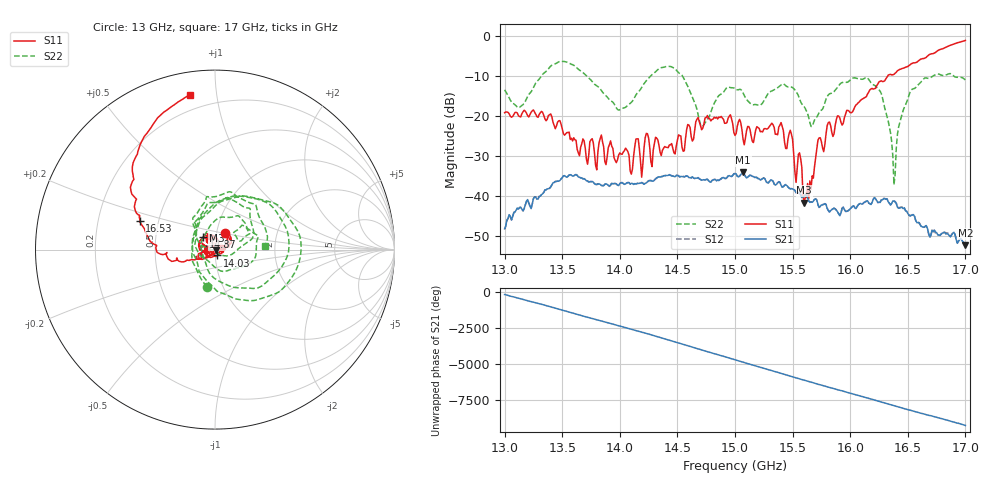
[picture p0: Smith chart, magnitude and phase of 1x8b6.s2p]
!Keysight Technologies,P9374A,MY57211807,A.19.30.04
!Date: Friday, May 08, 2026 14:24:08
!Correction: S11(C  2-Port  )
!S21(C  2-Port  )
!S12(C  2-Port  )
!S22(C  2-Port  )
!S2P File: Measurements: S11, S21, S12, S22:
# Hz S  dB  R 50
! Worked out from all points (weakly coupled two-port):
!   401 points, 13 GHz to 17 GHz, reference 50 ohm
!   highest |S21| = -34.08 dB at 15.07 GHz (marker M1); lowest = -52.2 dB at 17 GHz (marker M2)
!   lowest |S11| = -41.6 dB at 15.6 GHz (marker M3), VSWR 1.02, Z = 50.7 - j0.381 ohm
!   |S11| at or under -10 dB: start of sweep to 16.33 GHz
!   |S22| runs from -37.2 to -6.4 dB; largest |S21 - S12| = 0.00055
!   S11 on the Smith chart (normalised r, x): 13 GHz: 1.10, +0.21; 14.03 GHz: 1.03, -0.07; 14.87 GHz: 0.87, +0.12; 16.53 GHz: 0.39, +0.15; 17 GHz: 0.12, +0.84
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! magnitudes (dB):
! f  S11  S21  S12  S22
! 13 GHz  -19.2  -48.2  -48.2  -13.5
! 13.13 GHz  -20.1  -42.8  -42.8  -17.9
! 13.42 GHz  -21.5  -36.7  -36.7  -7.2
! 13.67 GHz  -26.9  -35.5  -35.5  -9.0
! 14.03 GHz  -29.0  -36.9  -36.8  -18.0
! 14.34 GHz  -27.3  -35.2  -35.1  -8.2
! 14.54 GHz  -27.8  -35.1  -35.1  -9.9
! 14.71 GHz  -23.4  -36.0  -36.0  -22.6
! 14.87 GHz  -20.4  -35.9  -35.8  -14.7
! 15 GHz  -24.9  -34.4  -34.3  -13.2
! 15.07 GHz  -25.8  -34.1  -34.1  -14.2
! 15.4 GHz  -21.7  -37.3  -37.2  -12.3
! 15.56 GHz  -29.2  -39.4  -39.4  -15.7
! 15.6 GHz  -41.6  -40.3  -40.3  -17.6
! 15.67 GHz  -34.9  -41.5  -41.5  -22.6
! 15.81 GHz  -21.6  -43.6  -43.5  -14.8
! 16.14 GHz  -15.2  -41.2  -41.3  -10.4
! 16.34 GHz  -9.7  -41.8  -41.8  -22.7
! 16.39 GHz  -9.4  -41.4  -41.3  -34.6
! 16.43 GHz  -8.4  -43.0  -42.8  -21.7
! 16.53 GHz  -7.0  -44.8  -44.7  -13.5
! 17 GHz  -1.2  -52.2  -52.5  -11.1
